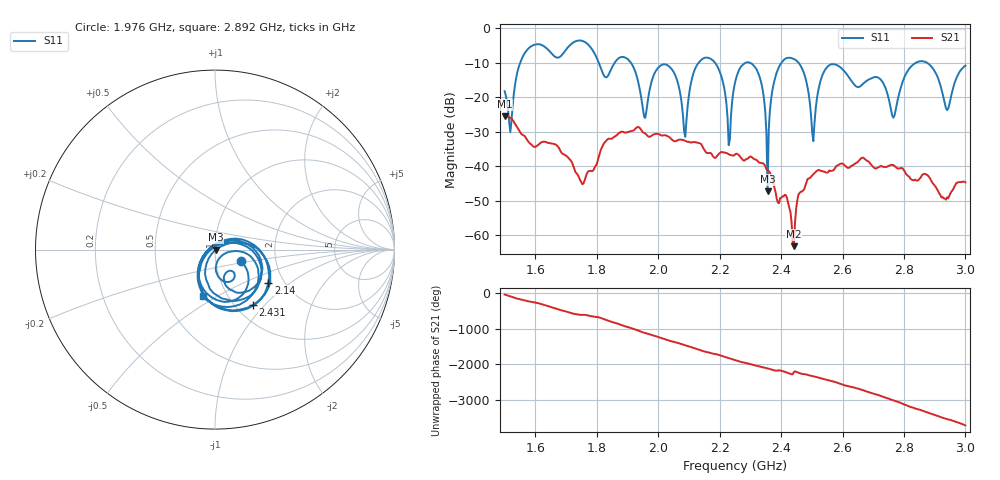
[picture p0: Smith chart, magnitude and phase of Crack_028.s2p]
# HZ S RI R 50
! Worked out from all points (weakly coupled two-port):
!   404 points, 1.5 GHz to 3 GHz, reference 50 ohm
!   highest |S21| = -25.49 dB at 1.5 GHz (marker M1); lowest = -63.2 dB at 2.442 GHz (marker M2)
!   lowest |S11| = -47.3 dB at 2.356 GHz (marker M3), VSWR 1.01, Z = 50.4 - j0.0396 ohm
!   |S11| at or under -10 dB: 1.911 GHz to 2.131 GHz (220 MHz wide, 10.9 % of centre); 2.457 GHz to 2.838 GHz (381.1 MHz wide, 14.4 % of centre); 2.875 GHz to end of sweep (the widest 3 of 7)
!   S12 and S22 are empty: the file has one direction only
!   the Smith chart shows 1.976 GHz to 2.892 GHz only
!   S11 on the Smith chart (normalised r, x): 1.976 GHz: 1.32, -0.17; 2.14 GHz: 1.66, -0.70; 2.431 GHz: 1.19, -0.86; 2.892 GHz: 0.77, -0.43
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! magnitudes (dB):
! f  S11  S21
! 1.5 GHz  -18.2  -25.5
! 1.753 GHz  -3.6  -45.2
! 1.906 GHz  -9.4  -30.0
! 1.954 GHz  -25.6  -30.3
! 1.976 GHz  -16.1  -31.3
! 2.002 GHz  -11.2  -30.7
! 2.088 GHz  -31.5  -32.7
! 2.14 GHz  -9.1  -33.6
! 2.196 GHz  -11.6  -36.6
! 2.23 GHz  -33.9  -36.5
! 2.252 GHz  -15.1  -36.4
! 2.319 GHz  -11.7  -38.1
! 2.356 GHz  -47.3  -41.2
! 2.382 GHz  -13.9  -47.5
! 2.431 GHz  -8.5  -53.3
! 2.442 GHz  -8.9  -63.2
! 2.501 GHz  -30.1  -42.7
! 2.565 GHz  -10.4  -41.3
! 2.751 GHz  -20.5  -39.9
! 2.892 GHz  -11.4  -44.7
! 2.94 GHz  -23.7  -49.0
! 3 GHz  -10.8  -44.7
